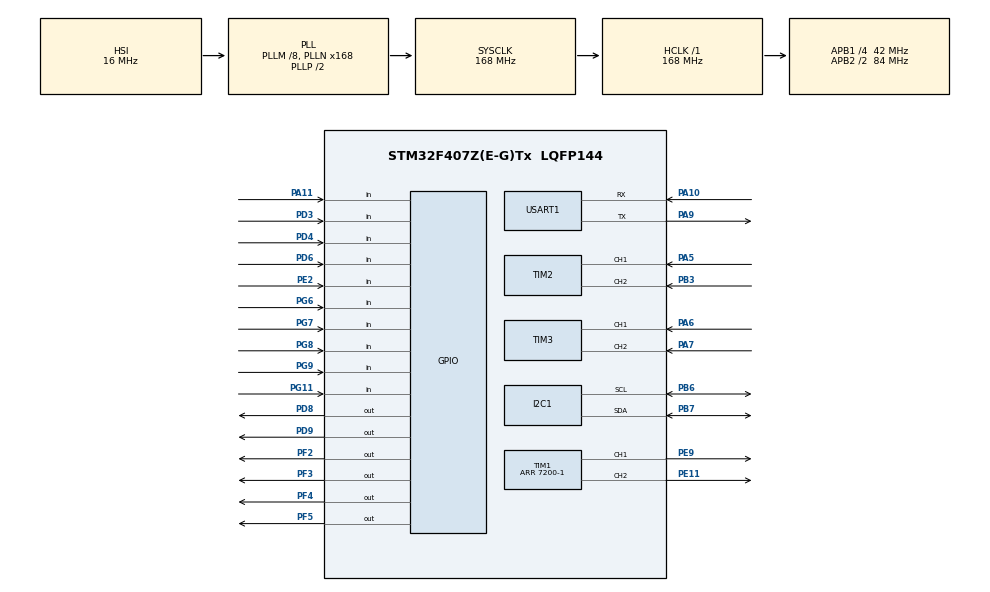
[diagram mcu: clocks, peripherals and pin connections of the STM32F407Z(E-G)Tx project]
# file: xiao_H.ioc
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I2C1.I2C_Mode=I2C_Fast
Mcu.Family=STM32F4
Mcu.Name=STM32F407Z(E-G)Tx
Mcu.Package=LQFP144
NVIC.PriorityGroup=NVIC_PRIORITYGROUP_4
NVIC.TIM4_IRQn=true\:0\:0\:false\:false\:true\:true\:true\:true
PA10.Mode=Asynchronous
PA10.Signal=USART1_RX
PA11.Signal=GPIO_Input
PA13.Mode=Serial_Wire
PA13.Signal=SYS_JTMS-SWDIO
PA14.Mode=Serial_Wire
PA14.Signal=SYS_JTCK-SWCLK
PA5.GPIO_PuPd=GPIO_PULLUP
PA5.GPIO_Speed=GPIO_SPEED_FREQ_HIGH
PA5.Signal=S_TIM2_CH1_ETR
PA6.GPIO_PuPd=GPIO_PULLUP
PA6.GPIO_Speed=GPIO_SPEED_FREQ_HIGH
PA6.Signal=S_TIM3_CH1
PA7.GPIO_PuPd=GPIO_PULLUP
PA7.GPIO_Speed=GPIO_SPEED_FREQ_HIGH
PA7.Signal=S_TIM3_CH2
PA9.Mode=Asynchronous
PA9.Signal=USART1_TX
PB3.GPIO_PuPd=GPIO_PULLUP
PB3.GPIO_Speed=GPIO_SPEED_FREQ_HIGH
PB3.Signal=S_TIM2_CH2
PB6.Mode=I2C
PB6.Signal=I2C1_SCL
PB7.Mode=I2C
PB7.Signal=I2C1_SDA
PD3.GPIO_PuPd=GPIO_PULLUP
PD3.Signal=GPIO_Input
PD4.GPIO_PuPd=GPIO_PULLUP
PD4.Signal=GPIO_Input
PD6.Signal=GPIO_Input
PD8.Signal=GPIO_Output
PD9.Signal=GPIO_Output
PE11.Signal=S_TIM1_CH2
PE2.Signal=GPIO_Input
PE9.Signal=S_TIM1_CH1
PF2.Signal=GPIO_Output
PF3.Signal=GPIO_Output
PF4.Signal=GPIO_Output
PF5.Signal=GPIO_Output
PG11.Signal=GPIO_Input
PG6.Signal=GPIO_Input
PG7.Signal=GPIO_Input
PG8.Signal=GPIO_Input
PG9.Signal=GPIO_Input
PH0-OSC_IN.Mode=HSE-External-Oscillator
PH0-OSC_IN.Signal=RCC_OSC_IN
PH1-OSC_OUT.Mode=HSE-External-Oscillator
PH1-OSC_OUT.Signal=RCC_OSC_OUT
ProjectManager.HeapSize=0x200
ProjectManager.StackSize=0x400
ProjectManager.TargetToolchain=MDK-ARM V5.32
RCC.48MHZClocksFreq_Value=84000000
RCC.AHBFreq_Value=168000000
RCC.APB1CLKDivider=RCC_HCLK_DIV4
RCC.APB1Freq_Value=42000000
RCC.APB1TimFreq_Value=84000000
RCC.APB2CLKDivider=RCC_HCLK_DIV2
RCC.APB2Freq_Value=84000000
RCC.APB2TimFreq_Value=168000000
RCC.CortexFreq_Value=168000000
RCC.HCLKFreq_Value=168000000
RCC.HSE_VALUE=8000000
RCC.HSI_VALUE=16000000
RCC.LSE_VALUE=32768
RCC.PLLM=8
RCC.PLLN=168
RCC.SYSCLKFreq_VALUE=168000000
RCC.SYSCLKSource=RCC_SYSCLKSOURCE_PLLCLK
RCC.VCOOutputFreq_Value=336000000
SH.S_TIM1_CH1.0=TIM1_CH1,PWM Generation1 CH1
SH.S_TIM1_CH2.0=TIM1_CH2,PWM Generation2 CH2
SH.S_TIM2_CH1_ETR.0=TIM2_CH1,Encoder_Interface
SH.S_TIM2_CH2.0=TIM2_CH2,Encoder_Interface
SH.S_TIM3_CH1.0=TIM3_CH1,Encoder_Interface
SH.S_TIM3_CH2.0=TIM3_CH2,Encoder_Interface
TIM1.Channel-PWM\ Generation1\ CH1=TIM_CHANNEL_1
TIM1.Channel-PWM\ Generation2\ CH2=TIM_CHANNEL_2
TIM1.Period=7200-1
TIM1.Pulse-PWM\ Generation1\ CH1=7200
TIM1.Pulse-PWM\ Generation2\ CH2=7200
TIM2.EncoderMode=TIM_ENCODERMODE_TI12
TIM3.EncoderMode=TIM_ENCODERMODE_TI12
TIM4.Period=100-1
TIM4.Prescaler=8400-1
USART1.VirtualMode=VM_ASYNC
VP_TIM4_VS_ClockSourceINT.Mode=Internal
board=custom

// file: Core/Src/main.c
/* USER CODE BEGIN Header */
/**
  ******************************************************************************
  * @file           : main.c
  * @brief          : Main program body
  ******************************************************************************
  * @attention
  *
  * Copyright (c) 2025 STMicroelectronics.
  * All rights reserved.
  *
  * This software is licensed under terms that can be found in the LICENSE file
  * in the root directory of this software component.
  * If no LICENSE file comes with this software, it is provided AS-IS.
  *
  ******************************************************************************
  */
/* USER CODE END Header */
#include "main.h"
#include "i2c.h"
#include "tim.h"
#include "usart.h"
#include "gpio.h"

/* USER CODE BEGIN Includes */
#include "headfile.h"
/* USER CODE END Includes */

void SystemClock_Config(void);
/* USER CODE BEGIN PFP */
void Angle_out(void);
void Read(void);
void one_topic(void);
void two_topic(void);
void three_topic(void);
void four_topic(void);
/* USER CODE END PFP */

/* USER CODE BEGIN 0 */
__IO uint8_t InitOK = 0;
//串口重定向
int fputc(int ch,FILE *f);
int fgetc(FILE *f);
//编码器、电机
uint32_t sys_tick;
int Encoder1,Encoder2;
int16_t left,right,left_last,right_last;
int16_t L_Target_Position, L_Target_Speed;
//陀螺仪1
float yaww,yawl,yaw_init,yaw_out;
int Init_Angle_Flag=1;
float q0, q1, q2, q3;
float roll, pitch, yaw;
extern int8_t track_read[8];
//int8_t track_assignment[8];
/* USER CODE END 0 */

int main(void)
{

  /* MCU Configuration--------------------------------------------------------*/

  /* Reset of all peripherals, Initializes the Flash interface and the Systick. */
  HAL_Init();

  /* Configure the system clock */
  SystemClock_Config();

  /* Initialize all configured peripherals */
  MX_GPIO_Init();
  MX_I2C1_Init();
  MX_TIM1_Init();
  MX_TIM2_Init();
  MX_TIM3_Init();
  MX_TIM4_Init();
  MX_USART1_UART_Init();
  /* USER CODE BEGIN 2 */
	//oled初始化
	OLED_Init();
	OLED_Clear();
	OLED_ShowString(1,1,"oled_OK");
	HAL_Delay(3000);
	OLED_Clear();
	//电机
	HAL_TIM_PWM_Start(&htim1,TIM_CHANNEL_1);
	HAL_TIM_PWM_Start(&htim1,TIM_CHANNEL_2);
	//编码器
	HAL_TIM_Encoder_Start(&htim2,TIM_CHANNEL_ALL);
	HAL_TIM_Encoder_Start(&htim3,TIM_CHANNEL_ALL);
	//BNO085 IIC 初始化
	I2C_Init();
	HAL_Delay(2000);//延时2秒
	uint8_t data;
	HAL_UART_Receive_IT(&huart1, &data, 1);
	printf("Init OK!!!\r\n");
    // 重置传感器
	softReset();

////	enableRotationVector(1);
////	enableGameRotationVector(100);
////	enableAccelerometer(100);
////	enableLinearAccelerometer(100);
////	enableGyro(100);
////	enableMagnetometer(100);
////	enableStepCounter(100);
////	enableStabilityClassifier(100);

	enableRotationVector(50);       // 增加旋转矢量传感器的采样率
	enableGameRotationVector(100);  // 保持游戏旋转矢量传感器的采样率
	enableAccelerometer(100);       // 保持加速度计的采样率
	enableLinearAccelerometer(100); // 保持线性加速度计的采样率
	enableGyro(100);                // 增加陀螺仪的采样率以提高精度
	enableMagnetometer(100);         // 降低磁力计的采样率以节省功耗
	enableStepCounter(50);          // 降低步数计数器的采样率
	enableStabilityClassifier(50);  // 降低稳定性分类器的采样率
	// 开始校准（可选）
	calibrateAll();//全部校准
	OLED_ShowString(1,1,"Init_OK");
	HAL_Delay(3000);
	OLED_Clear();
	//初始化完成，开启中断
	HAL_TIM_Base_Start_IT(&htim4);
  /* USER CODE END 2 */

  /* Infinite loop */
  /* USER CODE BEGIN WHILE */
	Load(0,0);
  int topic;
  while (1)
  {
    Track_follow();
    Read();
    Angle_out();
    OLED_ShowString(2,1,"yaw:");
	  OLED_ShowSignedNum(2,5,yawl,3);
    topic=1;
    switch (topic)
    {
      case 1:
      {
        /* code */
        int8_t pattern;
        if(pattern==0)Load(500,500);
        for(int8_t i=0;i<=7;i++)
        {
          if(track_read[i]==0)
          {
            pattern=1;
            Load(0,0);
          }
        }
        break;
      }
    }

    /* USER CODE END WHILE */

  }
}

void SystemClock_Config(void)
{
  RCC_OscInitTypeDef RCC_OscInitStruct = {0};
  RCC_ClkInitTypeDef RCC_ClkInitStruct = {0};

  /** Configure the main internal regulator output voltage
  */
  __HAL_RCC_PWR_CLK_ENABLE();
  __HAL_PWR_VOLTAGESCALING_CONFIG(PWR_REGULATOR_VOLTAGE_SCALE1);

  /** Initializes the RCC Oscillators according to the specified parameters
  * in the RCC_OscInitTypeDef structure.
  */
  RCC_OscInitStruct.OscillatorType = RCC_OSCILLATORTYPE_HSI;
  RCC_OscInitStruct.HSIState = RCC_HSI_ON;
  RCC_OscInitStruct.HSICalibrationValue = RCC_HSICALIBRATION_DEFAULT;
  RCC_OscInitStruct.PLL.PLLState = RCC_PLL_ON;
  RCC_OscInitStruct.PLL.PLLSource = RCC_PLLSOURCE_HSI;
  RCC_OscInitStruct.PLL.PLLM = 8;
  RCC_OscInitStruct.PLL.PLLN = 168;
  RCC_OscInitStruct.PLL.PLLP = RCC_PLLP_DIV2;
  RCC_OscInitStruct.PLL.PLLQ = 4;
  if (HAL_RCC_OscConfig(&RCC_OscInitStruct) != HAL_OK)
  {
    Error_Handler();
  }

  /** Initializes the CPU, AHB and APB buses clocks
  */
  RCC_ClkInitStruct.ClockType = RCC_CLOCKTYPE_HCLK|RCC_CLOCKTYPE_SYSCLK
                              |RCC_CLOCKTYPE_PCLK1|RCC_CLOCKTYPE_PCLK2;
  RCC_ClkInitStruct.SYSCLKSource = RCC_SYSCLKSOURCE_PLLCLK;
  RCC_ClkInitStruct.AHBCLKDivider = RCC_SYSCLK_DIV1;
  RCC_ClkInitStruct.APB1CLKDivider = RCC_HCLK_DIV4;
  RCC_ClkInitStruct.APB2CLKDivider = RCC_HCLK_DIV2;

  if (HAL_RCC_ClockConfig(&RCC_ClkInitStruct, FLASH_LATENCY_5) != HAL_OK)
  {
    Error_Handler();
  }
}

/* USER CODE BEGIN 4 */
int fputc(int ch,FILE *f)
{
//采用轮询方式发送1字节数据，超时时间设置为无限等待
HAL_UART_Transmit(&huart1,(uint8_t *)&ch,1,HAL_MAX_DELAY);
return ch;
}

int fgetc(FILE *f)
{
uint8_t ch;
// 采用轮询方式接收 1字节数据，超时时间设置为无限等待
HAL_UART_Receive( &huart1,(uint8_t*)&ch,1, HAL_MAX_DELAY );
return ch;
}

void Read(void)
{
	if(uwTick-sys_tick<10)
		return;
	sys_tick=uwTick;
	Encoder1=Read_Speed(&htim2);
	Encoder2=-Read_Speed(&htim3);
	OLED_ShowString(1,1,"T:");
	OLED_ShowString(1,8,"F:");
	OLED_ShowSignedNum(1,3,Encoder1,3);
	OLED_ShowSignedNum(1,10,Encoder2,3);
}

void HAL_TIM_PeriodElapsedCallback(TIM_HandleTypeDef *htim)
{
	if ( dataAvailable() )
    {
      q0 = getQuatReal();
      q1 = getQuatI();
      q2 = getQuatJ();
      q3 = getQuatK();

      roll = atan2( 2 * ( q0 * q1 + q2 * q3 ) ,  1- 2 * ( q1 * q1 + q2 * q2 ) ) * 57.3;
      pitch = asin( 2 * ( q0 * q2 - q3 * q1 ) ) * 57.3;
      yaw = atan2( 2 * ( q0 * q3 + q1 * q2 ) ,  1 - 2 * ( q2 * q2 + q3 * q3 ) ) * 57.3;

      printf("%f,%f,%f\n", roll, pitch, yaw);
    }
}

void Angle_out(void)
{
		if(Init_Angle_Flag==1&&yaw!=0)
		{
				yaw_init=yaw;
			  Init_Angle_Flag=0;
	    }
		 yaww=yaw-yaw_init;

		 if(yaww>180)
		 {
			yaww=yaww-360;
		 }
		 else if(yaww<-180)
		 {
			yaww=yaww+360;
		 }
		 else
		 {
			 yaww=yaw-yaw_init;
		 }
		  yawl=yaww;
//		 OLED_ShowSignedNum(3,1,yawl,3);
}

void one_topic(void)
{
  int8_t pattern;
	if(pattern==0)Load(500,500);
	for(int8_t i=0;i<=7;i++)
	{
		if(track_read[i]==0)
		{
			pattern=1;
      Load(0,0);
		}
	}
//  steering_ring(0,0);//转向环
}
/* USER CODE END 4 */

void Error_Handler(void)
{
  __disable_irq();
  while (1)
  {
  }
}
